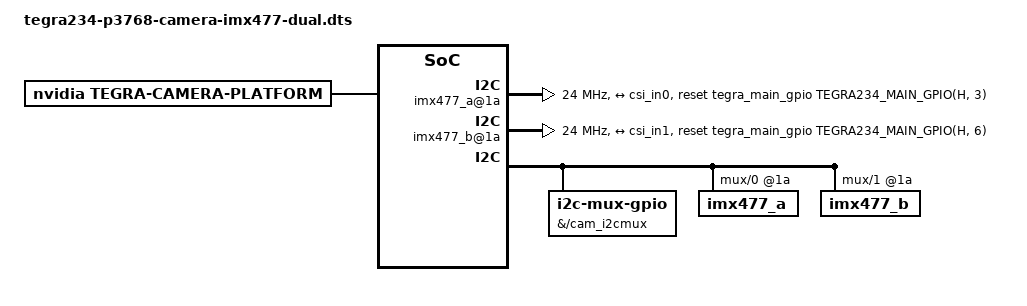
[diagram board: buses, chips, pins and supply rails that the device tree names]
/*
 * Device tree overlay for dual Sony IMX477 cameras
 * Platform: NVIDIA Jetson Orin Nano Super
 * Configuration: 4-lane CSI per camera
 *
 * Camera 0: CSI Port A (CAM0)
 * Camera 1: CSI Port B (CAM1)
 */

/dts-v1/;
/plugin/;

#include <dt-bindings/clock/tegra234-clock.h>
#include <dt-bindings/gpio/tegra234-gpio.h>

/ {
    overlay-name = "Dual IMX477 Camera Module";
    jetson-header-name = "Jetson Orin Nano Super";
    compatible = "nvidia,p3768-0000+p3767-0000";

    /* Camera board configuration */
    fragment@0 {
        target-path = "/";
        __overlay__ {
            tegra-camera-platform {
                compatible = "nvidia, tegra-camera-platform";
                num_csi_lanes = <8>;  /* 4 lanes per camera */
                max_lane_speed = <1500000>;  /* 1.5 Gbps per lane */
                min_bits_per_pixel = <10>;
                vi_peak_byte_per_pixel = <2>;
                vi_bw_margin_pct = <25>;
                max_pixel_rate = <750000>;  /* 750 KHz */
                isp_peak_byte_per_pixel = <5>;
                isp_bw_margin_pct = <25>;

                /**
                 * The general guideline for naming camera modules:
                 * 1. resolution
                 * 2. writer type
                 * 3. sensor model
                 * 4. lens info
                 */
                modules {
                    cam_module0: module0 {
                        status = "okay";
                        badge = "imx477_cam0";
                        position = "rear";
                        orientation = "1";

                        cam_module0_drivernode0: drivernode0 {
                            status = "okay";
                            pcl_id = "v4l2_sensor";
                            devname = "imx477 30-001a";
                            proc-device-tree = "/proc/device-tree/cam_i2cmux/i2c@0/imx477_a@1a";
                        };
                    };

                    cam_module1: module1 {
                        status = "okay";
                        badge = "imx477_cam1";
                        position = "rear";
                        orientation = "1";

                        cam_module1_drivernode0: drivernode0 {
                            status = "okay";
                            pcl_id = "v4l2_sensor";
                            devname = "imx477 31-001a";
                            proc-device-tree = "/proc/device-tree/cam_i2cmux/i2c@1/imx477_b@1a";
                        };
                    };
                };
            };
        };
    };

    /* Camera 0 - CSI Port A */
    fragment@1 {
        target-path = "/cam_i2cmux/i2c@0/imx477_a@1a";
        __overlay__ {
            compatible = "sony,imx477";
            reg = <0x1a>;

            /* Physical dimensions */
            physical_w = "7.564";
            physical_h = "5.476";

            sensor_model = "imx477";

            /* Power supplies */
            avdd-reg = "vana";
            iovdd-reg = "vif";
            dvdd-reg = "vdig";

            /* Control GPIOs */
            reset-gpios = <&tegra_main_gpio TEGRA234_MAIN_GPIO(H, 3) GPIO_ACTIVE_HIGH>;

            /* Clocks */
            clocks = <&bpmp_clks TEGRA234_CLK_EXTPERIPH1>;
            clock-names = "extperiph1";
            mclk = "extperiph1";
            clock-frequency = <24000000>;

            /* Video modes */
            mode0 { /* 4056x3040 @ 30fps - Full resolution */
                mclk_khz = "24000";
                num_lanes = "4";
                tegra_sinterface = "serial_a";
                phy_mode = "DPHY";
                discontinuous_clk = "no";
                dpcm_enable = "false";
                cil_settletime = "0";

                active_w = "4056";
                active_h = "3040";
                mode_type = "bayer";
                pixel_phase = "rggb";
                csi_pixel_bit_depth = "10";
                readout_orientation = "0";
                line_length = "5000";
                inherent_gain = "1";
                mclk_multiplier = "35";
                pix_clk_hz = "840000000";

                gain_factor = "10";
                min_gain_val = "0";        /* 1.0x */
                max_gain_val = "978";      /* 97.8x */
                step_gain_val = "1";
                default_gain = "0";

                min_hdr_ratio = "1";
                max_hdr_ratio = "1";

                framerate_factor = "1000000";
                min_framerate = "1000000";   /* 1 fps */
                max_framerate = "30000000";  /* 30 fps */
                step_framerate = "1";
                default_framerate = "30000000";

                exposure_factor = "1000000";
                min_exp_time = "30";         /* 30 us */
                max_exp_time = "33333";      /* 33.33 ms */
                step_exp_time = "1";
                default_exp_time = "16666";  /* 16.66 ms */

                embedded_metadata_height = "2";
            };

            mode1 { /* 1920x1080 @ 60fps - Performance mode */
                mclk_khz = "24000";
                num_lanes = "4";
                tegra_sinterface = "serial_a";
                phy_mode = "DPHY";
                discontinuous_clk = "no";
                dpcm_enable = "false";
                cil_settletime = "0";

                active_w = "1920";
                active_h = "1080";
                mode_type = "bayer";
                pixel_phase = "rggb";
                csi_pixel_bit_depth = "10";
                readout_orientation = "0";
                line_length = "3448";
                inherent_gain = "1";
                mclk_multiplier = "35";
                pix_clk_hz = "420000000";

                gain_factor = "10";
                min_gain_val = "0";
                max_gain_val = "978";
                step_gain_val = "1";
                default_gain = "0";

                framerate_factor = "1000000";
                min_framerate = "1000000";
                max_framerate = "60000000";
                step_framerate = "1";
                default_framerate = "60000000";

                exposure_factor = "1000000";
                min_exp_time = "30";
                max_exp_time = "16666";
                step_exp_time = "1";
                default_exp_time = "8333";

                embedded_metadata_height = "2";
            };

            ports {
                #address-cells = <1>;
                #size-cells = <0>;

                port@0 {
                    reg = <0>;
                    imx477_out0: endpoint {
                        port-index = <0>;
                        bus-width = <4>;
                        remote-endpoint = <&csi_in0>;
                    };
                };
            };
        };
    };

    /* Camera 1 - CSI Port B */
    fragment@2 {
        target-path = "/cam_i2cmux/i2c@1/imx477_b@1a";
        __overlay__ {
            compatible = "sony,imx477";
            reg = <0x1a>;

            physical_w = "7.564";
            physical_h = "5.476";
            sensor_model = "imx477";

            avdd-reg = "vana";
            iovdd-reg = "vif";
            dvdd-reg = "vdig";

            reset-gpios = <&tegra_main_gpio TEGRA234_MAIN_GPIO(H, 6) GPIO_ACTIVE_HIGH>;

            clocks = <&bpmp_clks TEGRA234_CLK_EXTPERIPH2>;
            clock-names = "extperiph2";
            mclk = "extperiph2";
            clock-frequency = <24000000>;

            /* Same modes as Camera 0 */
            mode0 {
                mclk_khz = "24000";
                num_lanes = "4";
                tegra_sinterface = "serial_b";
                phy_mode = "DPHY";
                discontinuous_clk = "no";
                dpcm_enable = "false";
                cil_settletime = "0";

                active_w = "4056";
                active_h = "3040";
                mode_type = "bayer";
                pixel_phase = "rggb";
                csi_pixel_bit_depth = "10";
                readout_orientation = "0";
                line_length = "5000";
                inherent_gain = "1";
                mclk_multiplier = "35";
                pix_clk_hz = "840000000";

                gain_factor = "10";
                min_gain_val = "0";
                max_gain_val = "978";
                step_gain_val = "1";
                default_gain = "0";

                min_hdr_ratio = "1";
                max_hdr_ratio = "1";

                framerate_factor = "1000000";
                min_framerate = "1000000";
                max_framerate = "30000000";
                step_framerate = "1";
                default_framerate = "30000000";

                exposure_factor = "1000000";
                min_exp_time = "30";
                max_exp_time = "33333";
                step_exp_time = "1";
                default_exp_time = "16666";

                embedded_metadata_height = "2";
            };

            mode1 {
                mclk_khz = "24000";
                num_lanes = "4";
                tegra_sinterface = "serial_b";
                phy_mode = "DPHY";
                discontinuous_clk = "no";
                dpcm_enable = "false";
                cil_settletime = "0";

                active_w = "1920";
                active_h = "1080";
                mode_type = "bayer";
                pixel_phase = "rggb";
                csi_pixel_bit_depth = "10";
                readout_orientation = "0";
                line_length = "3448";
                inherent_gain = "1";
                mclk_multiplier = "35";
                pix_clk_hz = "420000000";

                gain_factor = "10";
                min_gain_val = "0";
                max_gain_val = "978";
                step_gain_val = "1";
                default_gain = "0";

                framerate_factor = "1000000";
                min_framerate = "1000000";
                max_framerate = "60000000";
                step_framerate = "1";
                default_framerate = "60000000";

                exposure_factor = "1000000";
                min_exp_time = "30";
                max_exp_time = "16666";
                step_exp_time = "1";
                default_exp_time = "8333";

                embedded_metadata_height = "2";
            };

            ports {
                #address-cells = <1>;
                #size-cells = <0>;

                port@0 {
                    reg = <0>;
                    imx477_out1: endpoint {
                        port-index = <2>;
                        bus-width = <4>;
                        remote-endpoint = <&csi_in1>;
                    };
                };
            };
        };
    };

    /* CSI ports configuration */
    fragment@3 {
        target-path = "/host1x@13e00000/nvcsi@15a00000";
        __overlay__ {
            num-channels = <2>;
            #address-cells = <1>;
            #size-cells = <0>;

            channel@0 {
                reg = <0>;
                ports {
                    #address-cells = <1>;
                    #size-cells = <0>;
                    port@0 {
                        reg = <0>;
                        csi_in0: endpoint@0 {
                            port-index = <0>;
                            bus-width = <4>;
                            remote-endpoint = <&imx477_out0>;
                        };
                    };
                    port@1 {
                        reg = <1>;
                        csi_out0: endpoint@1 {
                            remote-endpoint = <&vi_in0>;
                        };
                    };
                };
            };

            channel@1 {
                reg = <1>;
                ports {
                    #address-cells = <1>;
                    #size-cells = <0>;
                    port@0 {
                        reg = <0>;
                        csi_in1: endpoint@2 {
                            port-index = <2>;
                            bus-width = <4>;
                            remote-endpoint = <&imx477_out1>;
                        };
                    };
                    port@1 {
                        reg = <1>;
                        csi_out1: endpoint@3 {
                            remote-endpoint = <&vi_in1>;
                        };
                    };
                };
            };
        };
    };

    /* VI (Video Input) configuration */
    fragment@4 {
        target-path = "/host1x@13e00000/vi@15c00000";
        __overlay__ {
            num-channels = <2>;
            #address-cells = <1>;
            #size-cells = <0>;

            vi_port0: port@0 {
                reg = <0>;
                vi_in0: endpoint {
                    port-index = <0>;
                    bus-width = <4>;
                    remote-endpoint = <&csi_out0>;
                };
            };

            vi_port1: port@1 {
                reg = <1>;
                vi_in1: endpoint {
                    port-index = <2>;
                    bus-width = <4>;
                    remote-endpoint = <&csi_out1>;
                };
            };
        };
    };

    /* I2C Mux for camera control */
    fragment@5 {
        target-path = "/cam_i2cmux";
        __overlay__ {
            status = "okay";
            compatible = "i2c-mux-gpio";
            #address-cells = <1>;
            #size-cells = <0>;

            i2c@0 {
                reg = <0>;
                #address-cells = <1>;
                #size-cells = <0>;

                imx477_a@1a {
                    status = "okay";
                };
            };

            i2c@1 {
                reg = <1>;
                #address-cells = <1>;
                #size-cells = <0>;

                imx477_b@1a {
                    status = "okay";
                };
            };
        };
    };
};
